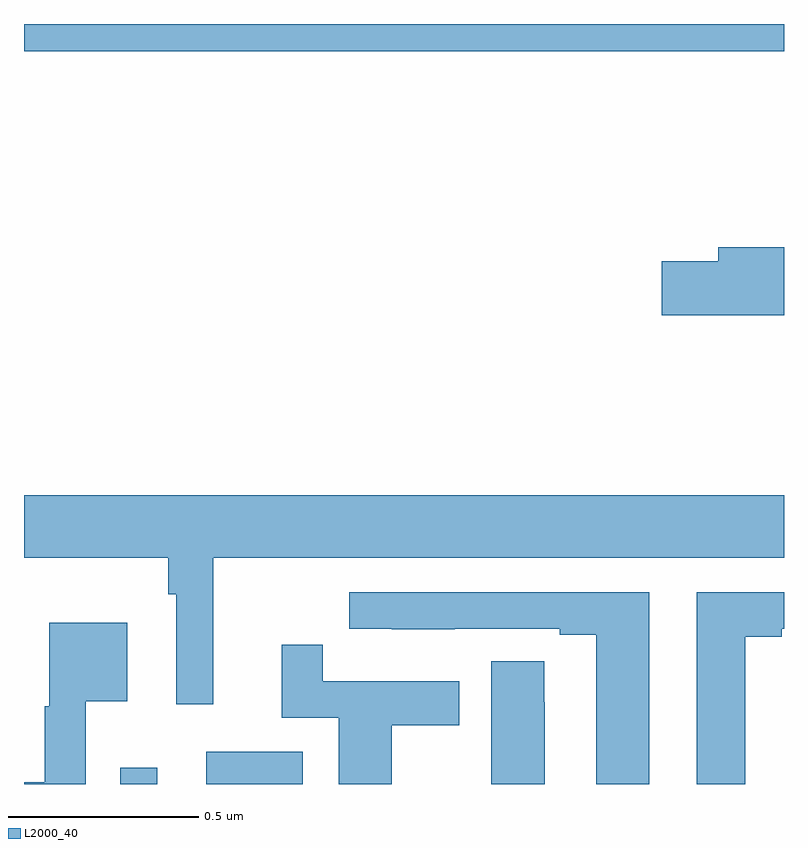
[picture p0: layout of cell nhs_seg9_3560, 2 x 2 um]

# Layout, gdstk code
import gdstk
lib = gdstk.Library(unit=1e-6, precision=1e-09)
def R(c, l, rs):  # rectangles x0, y0, x1, y1
    for r in rs: c.add(gdstk.rectangle(r[:2], r[2:], *l))
def P(c, l, *ps):  # polygons
    for p in ps: c.add(gdstk.Polygon(p, *l))
L2000_40 = (2000, 40)

nhs_seg9_3560 = lib.new_cell('nhs_seg9_3560')
R(nhs_seg9_3560, L2000_40, [(155.253,1186.5,155.35,1186.543), (155.48,1186.5,155.734,1186.585), (155,1188.428,157,1188.5)])
P(nhs_seg9_3560, L2000_40, [(157,1187.912),(156.827,1187.912),(156.827,1187.876),(156.678,1187.876),(156.678,1187.734),(157,1187.734)],
  [(155.498,1187.096),(157,1187.096),(157,1187.26),(155,1187.26),(155,1187.096),(155.38,1187.096),(155.38,1187),(155.4,1187),(155.4,1186.71),(155.498,1186.71)],
  [(156.646,1187.004),(155.856,1187.004),(155.856,1186.908),(155.968,1186.908),(155.968,1186.907),(156.134,1186.907),(156.134,1186.908),(156.41,1186.908),(156.41,1186.893),(156.506,1186.893),(156.506,1186.5),(156.646,1186.5)],
  [(156.898,1186.888),(156.994,1186.888),(156.994,1186.908),(157,1186.908),(157,1187.004),(156.77,1187.004),(156.77,1186.5),(156.898,1186.5)],
  [(155.163,1186.718),(155.272,1186.718),(155.272,1186.924),(155.066,1186.924),(155.066,1186.704),(155.055,1186.704),(155.055,1186.505),(155,1186.505),(155,1186.5),(155.163,1186.5)],
  [(155.968,1186.654),(156.145,1186.654),(156.145,1186.77),(155.786,1186.77),(155.786,1186.867),(155.678,1186.867),(155.678,1186.674),(155.828,1186.674),(155.828,1186.5),(155.968,1186.5)],
  [(156.37,1186.715),(156.369,1186.715),(156.369,1186.823),(156.23,1186.823),(156.23,1186.5),(156.37,1186.5)])

lib.write_gds('nhs_seg9_3560.gds')
